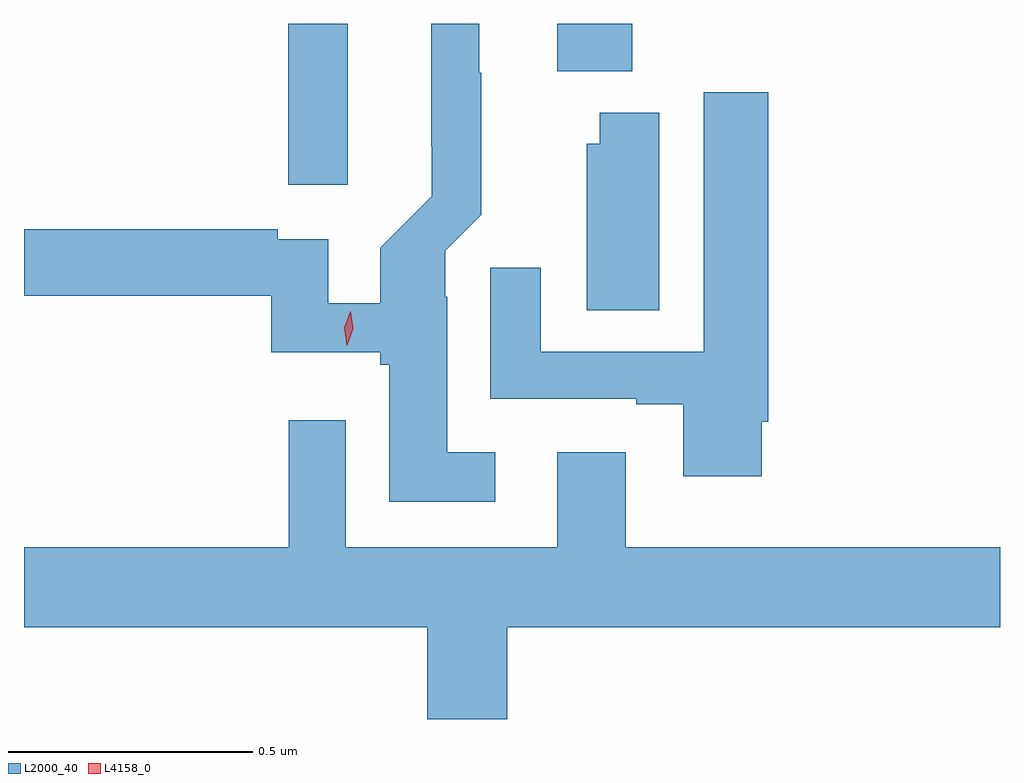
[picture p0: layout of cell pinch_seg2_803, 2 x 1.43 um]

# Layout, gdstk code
import gdstk
lib = gdstk.Library(unit=1e-6, precision=1e-09)
def R(c, l, rs):  # rectangles x0, y0, x1, y1
    for r in rs: c.add(gdstk.rectangle(r[:2], r[2:], *l))
def P(c, l, *ps):  # polygons
    for p in ps: c.add(gdstk.Polygon(p, *l))
L2000_40 = (2000, 40)
L4158_0 = (4158, 0)

pinch_seg2_803 = lib.new_cell('pinch_seg2_803')
R(pinch_seg2_803, L2000_40, [(644.243,631.227,644.365,631.557), (644.795,631.46,644.948,631.557)])
P(pinch_seg2_803, L2000_40, [(644.668,630.679),(644.569,630.679),(644.569,630.998),(644.565,630.998),(644.565,631.092),(644.639,631.166),(644.639,631.457),(644.635,631.457),(644.635,631.557),(644.537,631.557),(644.537,631.306),(644.538,631.306),(644.538,631.204),(644.432,631.098),(644.432,630.984),(644.325,630.984),(644.325,631.116),(644.222,631.116),(644.222,631.136),(643.702,631.136),(643.702,631),(644.209,631),(644.209,630.884),(644.432,630.884),(644.432,630.858),(644.45,630.858),(644.45,630.578),(644.668,630.578)],
  [(645.214,630.742),(645.227,630.742),(645.227,631.417),(645.095,631.417),(645.095,630.885),(644.761,630.885),(644.761,631.057),(644.657,631.057),(644.657,630.789),(644.957,630.789),(644.957,630.777),(645.053,630.777),(645.053,630.63),(645.214,630.63)],
  [(645.004,631.375),(644.882,631.375),(644.882,631.311),(644.855,631.311),(644.855,630.97),(645.004,630.97)],
  [(644.692,630.32),(645.702,630.32),(645.702,630.484),(644.935,630.484),(644.935,630.679),(644.795,630.679),(644.795,630.484),(644.361,630.484),(644.361,630.745),(644.245,630.745),(644.245,630.484),(643.702,630.484),(643.702,630.32),(644.528,630.32),(644.528,630.132),(644.692,630.132)])
P(pinch_seg2_803, L4158_0, [(644.363,630.898),(644.358,630.934),(644.371,630.967),(644.371,630.968),(644.372,630.967),(644.377,630.932),(644.364,630.898),(644.364,630.898)])

lib.write_gds('pinch_seg2_803.gds')
